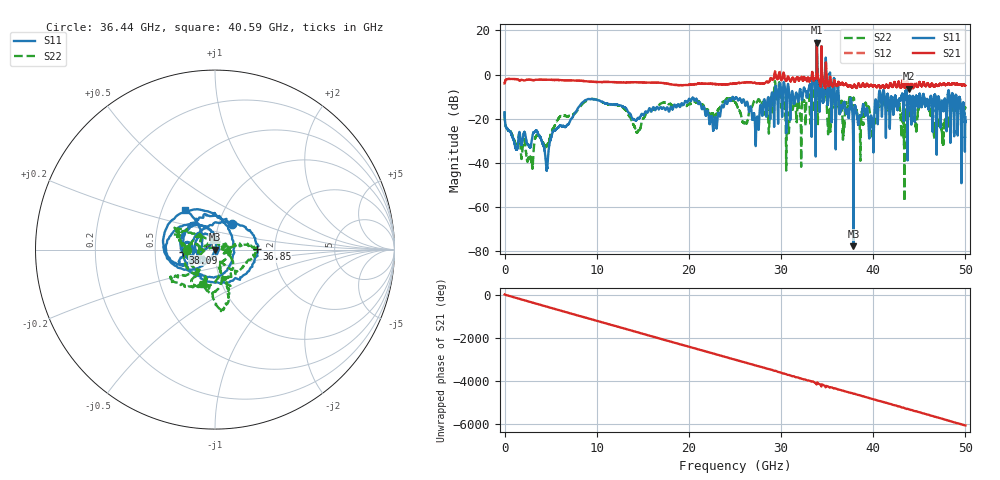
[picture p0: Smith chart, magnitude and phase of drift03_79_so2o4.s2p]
!Created with skrf (http://scikit-rf.org).
# Hz S RI R 50.0
!freq ReS11 ImS11 ReS21 ImS21 ReS12 ImS12 ReS22 ImS22
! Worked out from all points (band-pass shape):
!   10001 points, 300 kHz to 50 GHz, reference 50 ohm
!   highest |S21| = 14.45 dB at 33.88 GHz (marker M1); lowest = -6.3 dB at 43.92 GHz (marker M2)
!   |S21| within 3 dB of the highest: 33.86877 GHz to 33.88815 GHz (19.38 MHz wide, 0.0572 % of centre); 34.37732 GHz to 34.38904 GHz (11.72 MHz wide, 0.0341 % of centre)
!   lowest |S11| = -77.7 dB at 37.85 GHz (marker M3), VSWR 1.00, Z = 50 + j0.0103 ohm
!   |S11| at or under -10 dB: start of sweep to 28.94 GHz; 36.27 GHz to 40.6 GHz (4.335 GHz wide, 11.3 % of centre); 47.09 GHz to 48.08 GHz (991.8 MHz wide, 2.08 % of centre) (the widest 3 of 64)
!   |S22| runs from -57.4 to 11.4 dB; largest |S21 - S12| = 0.81
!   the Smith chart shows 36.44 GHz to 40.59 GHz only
!   S11 on the Smith chart (normalised r, x): 36.44 GHz: 1.16, +0.34; 36.85 GHz: 1.61, +0.01; 38.09 GHz: 0.70, -0.02; 40.59 GHz: 0.66, +0.31
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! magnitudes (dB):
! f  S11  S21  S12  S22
! 300 kHz  -17.0  -4.0  -4.0  -16.8
! 2.825 GHz  -32.5  -2.4  -2.4  -38.0
! 4.555 GHz  -43.6  -2.3  -2.3  -32.4
! 8.335 GHz  -13.1  -2.8  -2.8  -13.9
! 14.45 GHz  -19.9  -3.5  -3.5  -25.8
! 16.67 GHz  -15.4  -3.7  -3.7  -14.2
! 22.82 GHz  -19.2  -4.3  -4.3  -19.2
! 25 GHz  -11.0  -4.0  -4.0  -12.5
! 26.09 GHz  -13.7  -3.6  -3.6  -21.9
! 27.39 GHz  -19.5  -4.1  -4.1  -12.4
! 29.6 GHz  -10.4  -2.0  -2.1  -11.7
! 30.7 GHz  -5.5  -1.4  -1.4  -17.0
! 33.34 GHz  -14.1  -0.5  -0.5  -7.1
! 33.88 GHz  15.4  14.4  14.0  11.4
! 36.44 GHz  -15.3  -4.4  -4.3  -16.2
! 36.85 GHz  -12.7  -4.7  -4.7  -23.4
! 37.85 GHz  -77.7  -5.4  -5.4  -10.9
! 38.09 GHz  -14.9  -5.6  -5.6  -16.6
! 40.59 GHz  -11.2  -4.8  -4.9  -13.9
! 41.67 GHz  -12.1  -5.9  -5.9  -15.2
! 43.92 GHz  -9.8  -6.3  -6.2  -17.2
! 50 GHz  -19.3  -4.9  -4.9  -15.0
